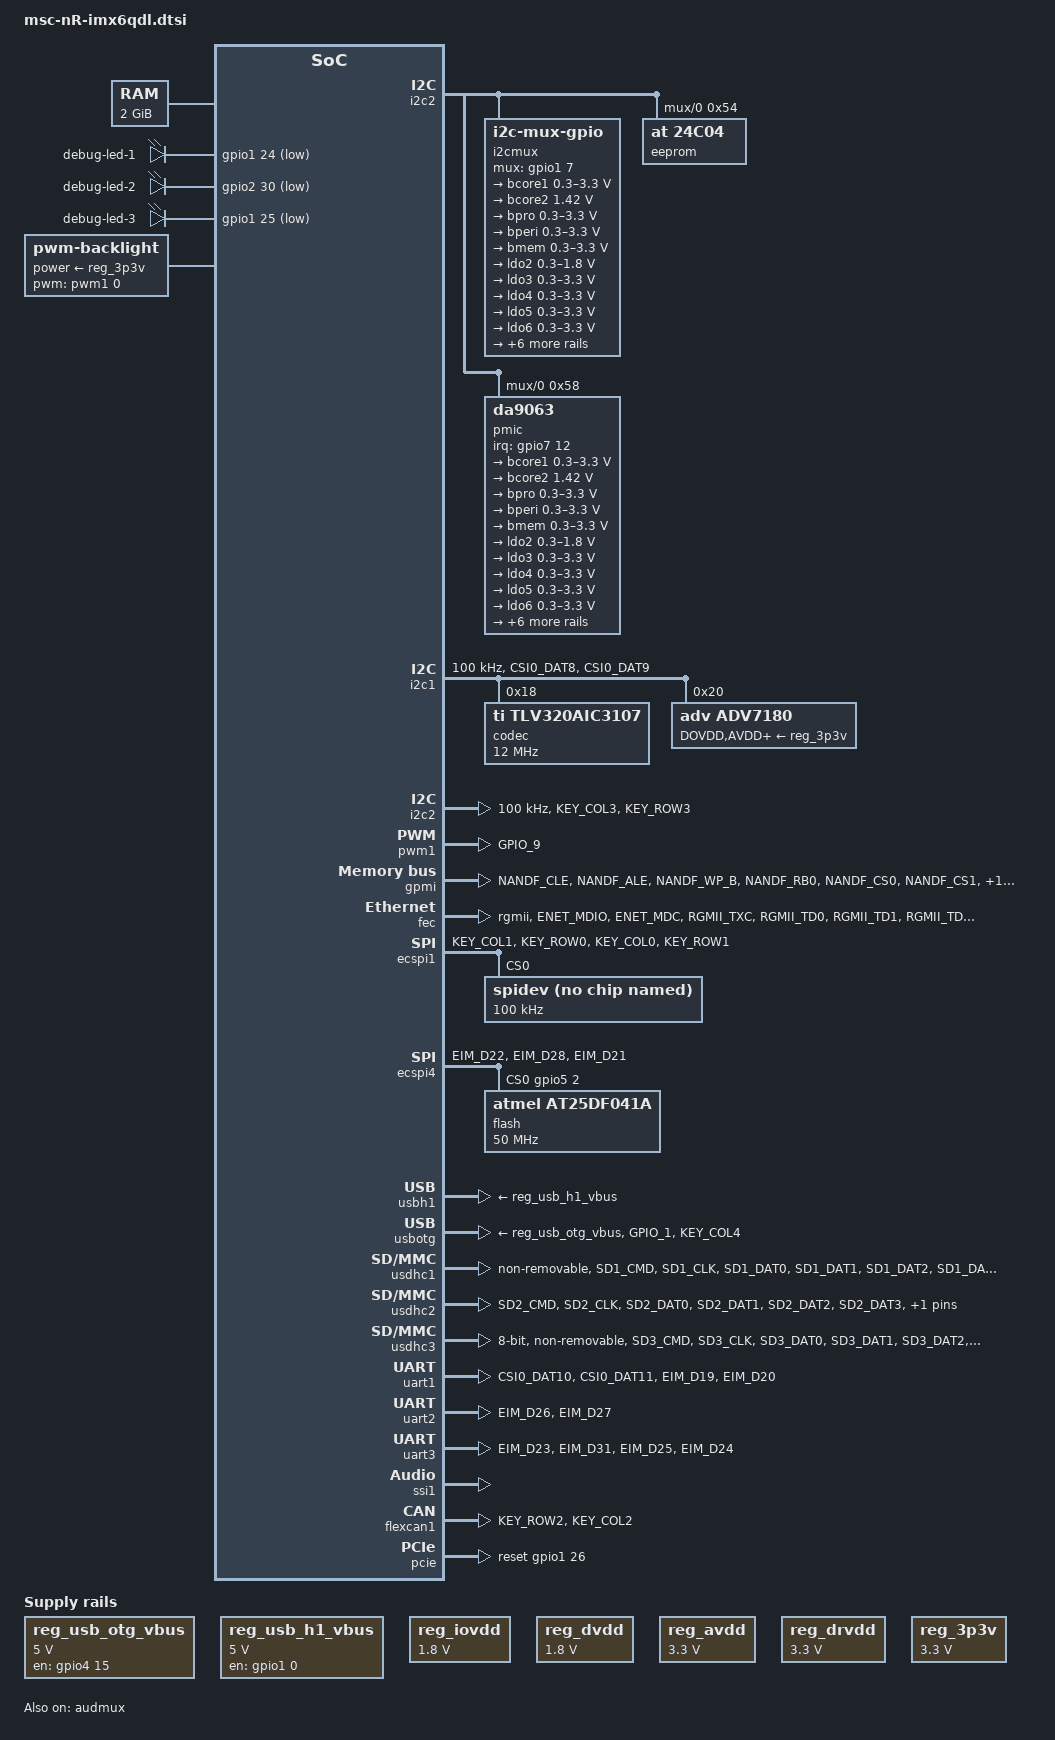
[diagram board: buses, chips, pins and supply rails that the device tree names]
/*
 * Copyright 2011 Freescale Semiconductor, Inc.
 * Copyright 2011 Linaro Ltd.
 *
 * The code contained herein is licensed under the GNU General Public
 * License. You may obtain a copy of the GNU General Public License
 * Version 2 or later at the following locations:
 *
 * http://www.opensource.org/licenses/gpl-license.html
 * http://www.gnu.org/copyleft/gpl.html
 */
#include "skeleton.dtsi"
#include <dt-bindings/gpio/gpio.h>

/ {
	aliases {
		mxcfb0 = &mxcfb1;
		mxcfb1 = &mxcfb2;
		mxcfb2 = &mxcfb3;
		mxcfb3 = &mxcfb4;
	};

	mxcfb1: fb@0 {
		status = "disabled";
	};

	mxcfb2: fb@1 {
		status = "disabled";
	};

	mxcfb3: fb@2 {
		status = "disabled";
	};

	mxcfb4: fb@3 {
		status = "disabled";
	};

	lcd@0 {
		compatible = "fsl,lcd";
		ipu_id = <0>;
		disp_id = <0>;
		default_ifmt = "RGB565";
		pinctrl-names = "default";
		pinctrl-0 = <&pinctrl_ipu1_1>;
		status = "disabled";
	};

	soc {
		aips-bus@02100000 { /* AIPS2 */

			i2cmux {
				compatible = "i2c-mux-gpio";
				#address-cells = <1>;
				#size-cells = <0>;
				mux-gpios = <&gpio1 7 GPIO_ACTIVE_HIGH>;
				i2c-parent = <&i2c2>;
				idle-state = <0x00>;

				i2c2@0 {
					#address-cells = <1>;
					#size-cells = <0>;
					reg = <0x00>;

					eeprom@54 {
						compatible = "at,24c04";
						pagesize = <16>;
						reg = <0x54>;
					};

					pmic: pmic@58 {
						compatible = "da9063";
						device_type = "mfd";
						pinctrl-names = "default";
						pinctrl-0 = <&pinctrl_pmicirq>;
						reg = <0x58>;
						interrupt-parent = <&gpio7>;
						interrupts = <12 8>;

						off-sequence = /bits/ 16 <
							0x19  0xd4  0x0E  0x01
						>;

						sleep-sequence = /bits/ 16 <
							0x1B  0x9E  0x0D  0x20
							0x117 0xC0  0x0B  0x30
							0x114 0x89  0x20  0x61
							0x21  0x61
						>;

						wake-sequence = /bits/ 16 <
							0x117 0xCC
						>;

						battery {
							compatible = "dialog,da9063-battery";
							charging-uA = <6000>;
							charging-mV = <3100>;
						};

						regulators {
							bcore1 {
								regulator-name = "bcore1";
								regulator-always-on = <1>;
								regulator-min-microvolt = <300000>;
								regulator-max-microvolt = <3300000>;
							};

							bcore2 {
								regulator-name = "bcore2";
								regulator-always-on = <1>;
								regulator-min-microvolt = <1420000>;
								regulator-max-microvolt = <1420000>;
							};

							bpro {
								regulator-name = "bpro";
								regulator-always-on = <1>;
								regulator-min-microvolt = <300000>;
								regulator-max-microvolt = <3300000>;
							};

							bperi {
								regulator-name = "bperi";
								regulator-always-on = <1>;
								regulator-min-microvolt = <300000>;
								regulator-max-microvolt = <3300000>;
							};

							bmem {
								regulator-name = "bmem";
								regulator-always-on = <1>;
								regulator-min-microvolt = <300000>;
								regulator-max-microvolt = <3300000>;
							};

							ldo2 {
								regulator-name = "ldo2";
								regulator-always-on = <1>;
								regulator-min-microvolt = <300000>;
								regulator-max-microvolt = <1800000>;
							};

							ldo3 {
								regulator-name = "ldo3";
								regulator-always-on = <1>;
								regulator-min-microvolt = <300000>;
								regulator-max-microvolt = <3300000>;
							};

							ldo4 {
								regulator-name = "ldo4";
								regulator-always-on = <1>;
								regulator-min-microvolt = <300000>;
								regulator-max-microvolt = <3300000>;
							};

							ldo5 {
								regulator-name = "ldo5";
								regulator-always-on = <1>;
								regulator-min-microvolt = <300000>;
								regulator-max-microvolt = <3300000>;
							};

							ldo6 {
								regulator-name = "ldo6";
								regulator-always-on = <1>;
								regulator-min-microvolt = <300000>;
								regulator-max-microvolt = <3300000>;
							};

							ldo7 {
								regulator-name = "ldo7";
								regulator-always-on = <1>;
								regulator-min-microvolt = <300000>;
								regulator-max-microvolt = <3300000>;
							};

							ldo8 {
								regulator-name = "ldo8";
								regulator-always-on = <1>;
								regulator-min-microvolt = <300000>;
								regulator-max-microvolt = <3300000>;
							};

							ldo9 {
								regulator-name = "ldo9";
								regulator-always-on = <1>;
								regulator-min-microvolt = <300000>;
								regulator-max-microvolt = <3300000>;
							};

							ldo10 {
								regulator-name = "ldo10";
								regulator-always-on = <1>;
								regulator-min-microvolt = <300000>;
								regulator-max-microvolt = <3300000>;
							};

							ldo11 {
								regulator-name = "ldo11";
								regulator-always-on = <1>;
								regulator-min-microvolt = <300000>;
								regulator-max-microvolt = <3300000>;
							};

							bio {
								regulator-name = "bio";
								regulator-always-on = <1>;
								regulator-min-microvolt = <1200000>;
								regulator-max-microvolt = <1200000>;
							};
						};
					};

				};

				i2c2@1 {
					#address-cells = <1>;
					#size-cells = <0>;
					reg = <0x01>;
				};
			};
		};
	};

	memory {
		reg = <0x10000000 0x80000000>;
	};

	regulators {
		compatible = "simple-bus";

		reg_usb_otg_vbus: usb_otg_vbus {
			compatible = "regulator-fixed";
			regulator-name = "usb_otg_vbus";
			regulator-min-microvolt = <5000000>;
			regulator-max-microvolt = <5000000>;
			gpio = <&gpio4 15 0>;
			enable-active-high;
		};

		reg_usb_h1_vbus: usb_h1_vbus {
			compatible = "regulator-fixed";
			regulator-name = "usb_h1_vbus";
			regulator-min-microvolt = <5000000>;
			regulator-max-microvolt = <5000000>;
			gpio = <&gpio1 0 0>;
			enable-active-high;
		};

		reg_iovdd: reg_aud_iovdd {
			compatible = "regulator-fixed";
			regulator-name = "IOVDD";
			regulator-min-microvolt = <1800000>;
			regulator-max-microvolt = <1800000>;
			regulator-always-on;
		};

		reg_dvdd: reg_aud_dvdd {
			compatible = "regulator-fixed";
			regulator-name = "DVDD";
			regulator-min-microvolt = <1800000>;
			regulator-max-microvolt = <1800000>;
			regulator-always-on;
		};

		reg_avdd: reg_aud_avdd {
			compatible = "regulator-fixed";
			regulator-name = "AVDD";
			regulator-min-microvolt = <3300000>;
			regulator-max-microvolt = <3300000>;
			regulator-always-on;
		};

		reg_drvdd: reg_aud_drvdd {
			compatible = "regulator-fixed";
			regulator-name = "DRVDD";
			regulator-min-microvolt = <3300000>;
			regulator-max-microvolt = <3300000>;
			regulator-always-on;
		};

		reg_3p3v: 3p3v {
			compatible = "regulator-fixed";
			regulator-name = "3P3V";
			regulator-min-microvolt = <3300000>;
			regulator-max-microvolt = <3300000>;
			regulator-always-on;
		};
	};

	leds {
		compatible = "gpio-leds";
		pinctrl-names = "default";
		pinctrl-0 = <&pinctrl_led1>;

		led@1 {
			label = "debug-led-1";
			gpios = <&gpio1 24 1>;
			linux,default-trigger = "heartbeat";
			default-state = "off";
		};

		led@2 {
			label = "debug-led-2";
			gpios = <&gpio2 30 1>;
			linux,default-trigger = "mmc0";
			default-state = "off";
		};

		led@3 {
			label = "debug-led-3";
			gpios = <&gpio1 25 1>;
			linux,default-trigger = "nand-disk";
			default-state = "off";
		};
	};

	backlight {
		compatible = "pwm-backlight";
		pwms = <&pwm1 0 50000>;
		brightness-levels = <0 16 32 64 128 255>;
		default-brightness-level = <5>;
		power-supply = <&reg_3p3v>;
	};

	lcd_power_en {
		gpios = <&gpio2 31 0>;
	};

	lvds_cabc_ctrl {
		lvds0-gpios = <&gpio3 16 0>;
	};

	latches {
		compatible = "";
		pinctrl-names = "default";
		u0405-en-gpio = <&gpio6 6 1>;
	};

	sound {
		compatible = "fsl,imx-audio-tlv320aic3107";
		model = "imx-tlv320aic3107";
		ssi-controller = <&ssi1>;
		audio-codec = <&codec>;
		mux-int-port = <1>;
		mux-ext-port = <3>;
		audio-routing =
			"MIC_IN", "Mic Jack",
			"Mic Jack", "Mic Bias",
			"Headphone Jack", "HP_OUT";
	};

	v4l2_cap_0 {
		compatible = "fsl,imx6q-v4l2-capture";
		ipu_id = <0>;
		csi_id = <0>;
		mclk_source = <0>;
		status = "okay";
	};

	v4l2_out {
		compatible = "fsl,mxc_v4l2_output";
		status = "okay";
	};
};

&iomuxc {
	pinctrl-names = "default";
	pinctrl-0 = <&pinctrl_hog>;

	msc-nR-imx6qdl {
		pinctrl_hog: hoggrp {
			fsl,pins = <
				MX6QDL_PAD_EIM_A23__GPIO6_IO06     0x30b1
				MX6QDL_PAD_EIM_D16__GPIO3_IO16     0x30b1
				MX6QDL_PAD_EIM_A17__GPIO2_IO21     0x30b1
				MX6QDL_PAD_EIM_A16__GPIO2_IO22     0x30b1
				MX6QDL_PAD_EIM_A18__GPIO2_IO20     0x30b1
				MX6QDL_PAD_EIM_A19__GPIO2_IO19     0x30b1
				MX6QDL_PAD_EIM_A21__GPIO2_IO17     0x30b1
				MX6QDL_PAD_EIM_A20__GPIO2_IO18     0x30b1
				MX6QDL_PAD_EIM_A21__GPIO2_IO17     0x30b1
				MX6QDL_PAD_EIM_A22__GPIO2_IO16     0x30b1
				MX6QDL_PAD_EIM_A24__GPIO5_IO04     0x30b1
				MX6QDL_PAD_EIM_LBA__GPIO2_IO27     0x30b1
				MX6QDL_PAD_EIM_EB3__GPIO2_IO31     0x30b1
				MX6QDL_PAD_EIM_A25__GPIO5_IO02     0x30b1
				MX6QDL_PAD_GPIO_3__GPIO1_IO03      0x30b1
				MX6QDL_PAD_DI0_PIN4__GPIO4_IO20    0x30b1
				MX6QDL_PAD_GPIO_7__GPIO1_IO07      0x30b1
				MX6QDL_PAD_GPIO_16__GPIO7_IO11     0x30b1
				MX6QDL_PAD_GPIO_8__GPIO1_IO08      0x30b1
				MX6QDL_PAD_SD4_DAT4__GPIO2_IO12    0x30b1
				MX6QDL_PAD_SD4_DAT5__GPIO2_IO13    0x30b1
			>;
		};

		pinctrl_led1: led1grp {
			fsl,pins = <
				MX6QDL_PAD_ENET_RX_ER__GPIO1_IO24  0x80000000
				MX6QDL_PAD_EIM_EB2__GPIO2_IO30     0x80000000
				MX6QDL_PAD_ENET_CRS_DV__GPIO1_IO25 0x80000000
			>;
		};

		pinctrl_pwm1_2: pwm1grp-2 {
			fsl,pins = <
				MX6QDL_PAD_GPIO_9__PWM1_OUT        0x1b0b1
			>;
		};

		pinctrl_pwm4_1: pwm4grp-1 {
			fsl,pins = <
				MX6QDL_PAD_SD4_DAT2__PWM4_OUT      0x1b0b1
			>;
		};

		pinctrl_ecspi1: ecspi1grp {
			fsl,pins = <
				MX6QDL_PAD_KEY_COL1__ECSPI1_MISO 0x100b1
				MX6QDL_PAD_KEY_ROW0__ECSPI1_MOSI 0x100b1
				MX6QDL_PAD_KEY_COL0__ECSPI1_SCLK 0x100b1
				MX6QDL_PAD_KEY_ROW1__ECSPI1_SS0  0x100b1
			>;
		};

		pinctrl_ecspi4: ecspi4grp {
			fsl,pins = <
				MX6QDL_PAD_EIM_D22__ECSPI4_MISO    0x100b1
				MX6QDL_PAD_EIM_D28__ECSPI4_MOSI    0x100b1
				MX6QDL_PAD_EIM_D21__ECSPI4_SCLK    0x100b1
			>;
		};

		pinctrl_usbotg: usbotggrp {
			fsl,pins = <
				MX6QDL_PAD_GPIO_1__USB_OTG_ID      0x17059
				MX6QDL_PAD_KEY_COL4__USB_OTG_OC    0x1b0b0
			>;
		};

		pinctrl_uart1: uart1grp {
			fsl,pins = <
				MX6QDL_PAD_CSI0_DAT10__UART1_TX_DATA 0x1b0b1
				MX6QDL_PAD_CSI0_DAT11__UART1_RX_DATA 0x1b0b1
				MX6QDL_PAD_EIM_D19__UART1_CTS_B      0x1b0b1
				MX6QDL_PAD_EIM_D20__UART1_RTS_B      0x1b0b1
			>;
		};

		pinctrl_uart2: uart2grp {
			fsl,pins = <
				MX6QDL_PAD_EIM_D26__UART2_TX_DATA 0x1b0b1
				MX6QDL_PAD_EIM_D27__UART2_RX_DATA 0x1b0b1
			>;
		};

		pinctrl_uart3: uart3grp {
			fsl,pins = <
				MX6QDL_PAD_EIM_D23__UART3_CTS_B      0x1b0b1
				MX6QDL_PAD_EIM_D31__UART3_RTS_B      0x1b0b1
				MX6QDL_PAD_EIM_D25__UART3_RX_DATA    0x1b0b1
				MX6QDL_PAD_EIM_D24__UART3_TX_DATA    0x1b0b1
			>;
		};

		pinctrl_ipu1_1: ipu1grp-1 {
			fsl,pins = <
				MX6QDL_PAD_DI0_DISP_CLK__IPU1_DI0_DISP_CLK 0x10
				MX6QDL_PAD_DI0_PIN15__IPU1_DI0_PIN15       0x10
				MX6QDL_PAD_DI0_PIN2__IPU1_DI0_PIN02        0x10
				MX6QDL_PAD_DI0_PIN3__IPU1_DI0_PIN03        0x10
				MX6QDL_PAD_DISP0_DAT0__IPU1_DISP0_DATA00   0x10
				MX6QDL_PAD_DISP0_DAT1__IPU1_DISP0_DATA01   0x10
				MX6QDL_PAD_DISP0_DAT2__IPU1_DISP0_DATA02   0x10
				MX6QDL_PAD_DISP0_DAT3__IPU1_DISP0_DATA03   0x10
				MX6QDL_PAD_DISP0_DAT4__IPU1_DISP0_DATA04   0x10
				MX6QDL_PAD_DISP0_DAT5__IPU1_DISP0_DATA05   0x10
				MX6QDL_PAD_DISP0_DAT6__IPU1_DISP0_DATA06   0x10
				MX6QDL_PAD_DISP0_DAT7__IPU1_DISP0_DATA07   0x10
				MX6QDL_PAD_DISP0_DAT8__IPU1_DISP0_DATA08   0x10
				MX6QDL_PAD_DISP0_DAT9__IPU1_DISP0_DATA09   0x10
				MX6QDL_PAD_DISP0_DAT10__IPU1_DISP0_DATA10  0x10
				MX6QDL_PAD_DISP0_DAT11__IPU1_DISP0_DATA11  0x10
				MX6QDL_PAD_DISP0_DAT12__IPU1_DISP0_DATA12  0x10
				MX6QDL_PAD_DISP0_DAT13__IPU1_DISP0_DATA13  0x10
				MX6QDL_PAD_DISP0_DAT14__IPU1_DISP0_DATA14  0x10
				MX6QDL_PAD_DISP0_DAT15__IPU1_DISP0_DATA15  0x10
				MX6QDL_PAD_DISP0_DAT16__IPU1_DISP0_DATA16  0x10
				MX6QDL_PAD_DISP0_DAT17__IPU1_DISP0_DATA17  0x10
				MX6QDL_PAD_DISP0_DAT18__IPU1_DISP0_DATA18  0x10
				MX6QDL_PAD_DISP0_DAT19__IPU1_DISP0_DATA19  0x10
				MX6QDL_PAD_DISP0_DAT20__IPU1_DISP0_DATA20  0x10
				MX6QDL_PAD_DISP0_DAT21__IPU1_DISP0_DATA21  0x10
				MX6QDL_PAD_DISP0_DAT22__IPU1_DISP0_DATA22  0x10
				MX6QDL_PAD_DISP0_DAT23__IPU1_DISP0_DATA23  0x10
			>;
		};

		pinctrl_ipu1_2: ipu1grp-2 { /* parallel camera */
			fsl,pins = <
				MX6QDL_PAD_CSI0_DAT12__IPU1_CSI0_DATA12    0x80000000
				MX6QDL_PAD_CSI0_DAT13__IPU1_CSI0_DATA13    0x80000000
				MX6QDL_PAD_CSI0_DAT14__IPU1_CSI0_DATA14    0x80000000
				MX6QDL_PAD_CSI0_DAT15__IPU1_CSI0_DATA15    0x80000000
				MX6QDL_PAD_CSI0_DAT16__IPU1_CSI0_DATA16    0x80000000
				MX6QDL_PAD_CSI0_DAT17__IPU1_CSI0_DATA17    0x80000000
				MX6QDL_PAD_CSI0_DAT18__IPU1_CSI0_DATA18    0x80000000
				MX6QDL_PAD_CSI0_DAT19__IPU1_CSI0_DATA19    0x80000000
				MX6QDL_PAD_CSI0_DATA_EN__IPU1_CSI0_DATA_EN 0x80000000
				MX6QDL_PAD_CSI0_PIXCLK__IPU1_CSI0_PIXCLK   0x80000000
				MX6QDL_PAD_CSI0_MCLK__IPU1_CSI0_HSYNC      0x80000000
				MX6QDL_PAD_CSI0_VSYNC__IPU1_CSI0_VSYNC     0x80000000
			>;
		};

		pinctrl_pmicirq: pinctrl_pmicirqgrp {
			fsl,pins = <
				MX6QDL_PAD_GPIO_17__GPIO7_IO12	0x1F0B0
			>;
		};

		pinctrl_usdhc3_1_100mhz_120Ohm: usdhc3grp-1-100mhz { /* 100Mhz */
			fsl,pins = <
				MX6QDL_PAD_SD3_CMD__SD3_CMD 0x17109
				MX6QDL_PAD_SD3_CLK__SD3_CLK 0x10109
				MX6QDL_PAD_SD3_DAT0__SD3_DATA0 0x17109
				MX6QDL_PAD_SD3_DAT1__SD3_DATA1 0x17109
				MX6QDL_PAD_SD3_DAT2__SD3_DATA2 0x17109
				MX6QDL_PAD_SD3_DAT3__SD3_DATA3 0x17109
				MX6QDL_PAD_SD3_DAT4__SD3_DATA4 0x17109
				MX6QDL_PAD_SD3_DAT5__SD3_DATA5 0x17109
				MX6QDL_PAD_SD3_DAT6__SD3_DATA6 0x17109
				MX6QDL_PAD_SD3_DAT7__SD3_DATA7 0x17109
				MX6QDL_PAD_SD3_RST__GPIO7_IO08 0x4001b8b1
			>;
		};

		pinctrl_gpmi_nand_1: gpmi-nand-1 {
			fsl,pins = <
				MX6QDL_PAD_NANDF_CLE__NAND_CLE     0xb0b1
				MX6QDL_PAD_NANDF_ALE__NAND_ALE     0xb0b1
				MX6QDL_PAD_NANDF_WP_B__NAND_WP_B   0xb0b1
				MX6QDL_PAD_NANDF_RB0__NAND_READY_B 0xb000
				MX6QDL_PAD_NANDF_CS0__NAND_CE0_B   0xb0b1
				MX6QDL_PAD_NANDF_CS1__NAND_CE1_B   0xb0b1
				MX6QDL_PAD_SD4_CMD__NAND_RE_B      0xb0b1
				MX6QDL_PAD_SD4_CLK__NAND_WE_B      0xb0b1
				MX6QDL_PAD_NANDF_D0__NAND_DATA00   0xb0b1
				MX6QDL_PAD_NANDF_D1__NAND_DATA01   0xb0b1
				MX6QDL_PAD_NANDF_D2__NAND_DATA02   0xb0b1
				MX6QDL_PAD_NANDF_D3__NAND_DATA03   0xb0b1
				MX6QDL_PAD_NANDF_D4__NAND_DATA04   0xb0b1
				MX6QDL_PAD_NANDF_D5__NAND_DATA05   0xb0b1
				MX6QDL_PAD_NANDF_D6__NAND_DATA06   0xb0b1
				MX6QDL_PAD_NANDF_D7__NAND_DATA07   0xb0b1
				MX6QDL_PAD_SD4_DAT0__NAND_DQS      0x00b1
			>;
		};

		pinctrl_flexcan1: flexcan1grp {
			fsl,pins = <
				MX6QDL_PAD_KEY_ROW2__FLEXCAN1_RX 0x80000000
				MX6QDL_PAD_KEY_COL2__FLEXCAN1_TX 0x80000000
			>;
		};

		pinctrl_enet: enetgrp {
			fsl,pins = <
				MX6QDL_PAD_ENET_MDIO__ENET_MDIO       0x1b0b0
				MX6QDL_PAD_ENET_MDC__ENET_MDC         0x1b0b0
				MX6QDL_PAD_RGMII_TXC__RGMII_TXC       0x1b0b0
				MX6QDL_PAD_RGMII_TD0__RGMII_TD0       0x1b0b0
				MX6QDL_PAD_RGMII_TD1__RGMII_TD1       0x1b0b0
				MX6QDL_PAD_RGMII_TD2__RGMII_TD2       0x1b0b0
				MX6QDL_PAD_RGMII_TD3__RGMII_TD3       0x1b0b0
				MX6QDL_PAD_RGMII_TX_CTL__RGMII_TX_CTL 0x1b0b0
				MX6QDL_PAD_ENET_REF_CLK__ENET_TX_CLK  0x1b0b0
				MX6QDL_PAD_RGMII_RXC__RGMII_RXC       0x1b0b0
				MX6QDL_PAD_RGMII_RD0__RGMII_RD0       0x1b0b0
				MX6QDL_PAD_RGMII_RD1__RGMII_RD1       0x1b0b0
				MX6QDL_PAD_RGMII_RD2__RGMII_RD2       0x1b0b0
				MX6QDL_PAD_RGMII_RD3__RGMII_RD3       0x1b0b0
				MX6QDL_PAD_RGMII_RX_CTL__RGMII_RX_CTL 0x1b0b0
				MX6QDL_PAD_GPIO_16__ENET_REF_CLK      0x4001b0a8
			>;
		};

		pinctrl_usdhc1: usdhc1grp {
			fsl,pins = <
				MX6QDL_PAD_SD1_CMD__SD1_CMD    0x17071
				MX6QDL_PAD_SD1_CLK__SD1_CLK    0x10071
				MX6QDL_PAD_SD1_DAT0__SD1_DATA0 0x17071
				MX6QDL_PAD_SD1_DAT1__SD1_DATA1 0x17071
				MX6QDL_PAD_SD1_DAT2__SD1_DATA2 0x17071
				MX6QDL_PAD_SD1_DAT3__SD1_DATA3 0x17071
			>;
		};

		pinctrl_usdhc2: usdhc2grp {
			fsl,pins = <
				MX6QDL_PAD_SD2_CMD__SD2_CMD    0x17059
				MX6QDL_PAD_SD2_CLK__SD2_CLK    0x10059
				MX6QDL_PAD_SD2_DAT0__SD2_DATA0 0x17059
				MX6QDL_PAD_SD2_DAT1__SD2_DATA1 0x17059
				MX6QDL_PAD_SD2_DAT2__SD2_DATA2 0x17059
				MX6QDL_PAD_SD2_DAT3__SD2_DATA3 0x17059
			>;
		};

		pinctrl_i2c1: i2c1grp {
			fsl,pins = <
				MX6QDL_PAD_CSI0_DAT8__I2C1_SDA 0x4001b8b1
				MX6QDL_PAD_CSI0_DAT9__I2C1_SCL 0x4001b8b1
			>;
		};

		pinctrl_i2c2: i2c2grp {
			fsl,pins = <
				MX6QDL_PAD_KEY_COL3__I2C2_SCL 0x4001b8b1
				MX6QDL_PAD_KEY_ROW3__I2C2_SDA 0x4001b8b1
			>;
		};

		pinctrl_audmux: audmux {
			fsl,pins = <
				MX6QDL_PAD_CSI0_DAT7__AUD3_RXD  0x130b0
				MX6QDL_PAD_CSI0_DAT4__AUD3_TXC  0x130b0
				MX6QDL_PAD_CSI0_DAT5__AUD3_TXD  0x110b0
				MX6QDL_PAD_CSI0_DAT6__AUD3_TXFS 0x130b0
			>;
		};
	};
};

&i2c1 {
	pinctrl-names = "default";
	pinctrl-0 = <&pinctrl_i2c1>;
	clock-frequency = <100000>;
	status = "okay";

	codec: tlv320aic3107@18 {
		compatible = "ti,tlv320aic3107";
		clock-frequency = <12000000>;
		reg = <0x18>;
	};

	adv7180: adv7180@20 {
		compatible = "adv,adv7180";
		reg = <0x20>;
		pinctrl-names = "default";
		pinctrl-0 = <&pinctrl_ipu1_2>;
		clocks = <&clks 201>;
		clock-names = "csi_mclk";
		DOVDD-supply = <&reg_3p3v>;
		AVDD-supply = <&reg_3p3v>;
		DVDD-supply = <&reg_3p3v>;
		PVDD-supply = <&reg_3p3v>;
		csi_id = <0>;
		mclk = <24000000>;
		mclk_source = <0>;
		cvbs = <1>;
	};
};

&i2c2 {
	pinctrl-names = "default";
	pinctrl-0 = <&pinctrl_i2c2>;
	clock-frequency = <100000>;
	status = "okay";
};

&gpc {
	fsl,cpu_pupscr_sw2iso = <0xf>;
	fsl,cpu_pupscr_sw = <0xf>;
	fsl,cpu_pdnscr_iso2sw = <0x1>;
	fsl,cpu_pdnscr_iso = <0x1>;
	fsl,ldo-bypass = <0>; /* use ldo-bypass, u-boot will check it and configure */
	fsl,wdog-reset = <1>; /* watchdog select of reset source */
};

&pwm1 {
	pinctrl-names = "default";
	pinctrl-0 = <&pinctrl_pwm1_2>;
	status = "okay";
};

&gpmi {
	pinctrl-names = "default";
	pinctrl-0 = <&pinctrl_gpmi_nand_1>;
	nand-on-flash-bbt;
	status = "okay";
};

&fec {
	pinctrl-names = "default";
	pinctrl-0 = <&pinctrl_enet>;
	phy-mode = "rgmii";
	status = "okay";
};

&ecspi1 {
  fsl,spi-num-chipselects = <1>;
  cs-gpios = <0>;
  pinctrl-names = "default";
  pinctrl-0 = <&pinctrl_ecspi1>;
  status = "okay";
    spidev@0 {
        compatible = "spidev";
        /* spi-max-frequency = <20000000>; */
        spi-max-frequency = <100000>;
        reg = <0>;
    };
};

&ecspi4 {
	fsl,spi-num-chipselects = <1>;
	cs-gpios = <&gpio5 2 0>;
	pinctrl-names = "default";
	pinctrl-0 = <&pinctrl_ecspi4>;
	status = "okay";

	flash: at25df041a@0 {
		#address-cells = <1>;
		#size-cells = <1>;
		compatible = "atmel,at25df041a";
		spi-max-frequency = <50000000>;
		reg = <0>;
	};
};

&usbh1 {
	vbus-supply = <&reg_usb_h1_vbus>;
	status = "okay";
};

&usbotg {
	vbus-supply = <&reg_usb_otg_vbus>;
	pinctrl-names = "default";
	pinctrl-0 = <&pinctrl_usbotg>;
	disable-over-current;
	status = "okay";
};

&usdhc1 {
	pinctrl-names = "default";
	pinctrl-0 = <&pinctrl_usdhc1>;
	non-removable;
	no-1-8-v;
	status = "okay";
};

&usdhc2 {
	pinctrl-names = "default";
	pinctrl-0 = <&pinctrl_usdhc2>;
	cd-gpios = <&gpio4 20 0>;
	no-1-8-v;
	status = "okay";
};

&usdhc3 {
	pinctrl-names = "default";
	pinctrl-0 = <&pinctrl_usdhc3_1_100mhz_120Ohm>;
	pinctrl-assert-gpios = <&gpio7 8 GPIO_ACTIVE_HIGH>;
	bus-width = <8>;
	non-removable;
	status = "okay";
};

&uart1 {
	pinctrl-names = "default";
	pinctrl-0 = <&pinctrl_uart1>;
	status = "okay";
};

&uart2 {
	pinctrl-names = "default";
	pinctrl-0 = <&pinctrl_uart2>;
	status = "okay";
};

&uart3 {
	pinctrl-names = "default";
	pinctrl-0 = <&pinctrl_uart3>;
	status = "okay";
};

&audmux {
	pinctrl-names = "default";
	pinctrl-0 = <&pinctrl_audmux>;
	status = "okay";
};

&ssi1 {
	fsl,mode = "i2s-slave";
	status = "okay";
};

&flexcan1 {
	pinctrl-names = "default";
	pinctrl-0 = <&pinctrl_flexcan1>;
	status = "okay";
};

&pcie {
	reset-gpio = <&gpio1 26 0>;
	status = "okay";
};
